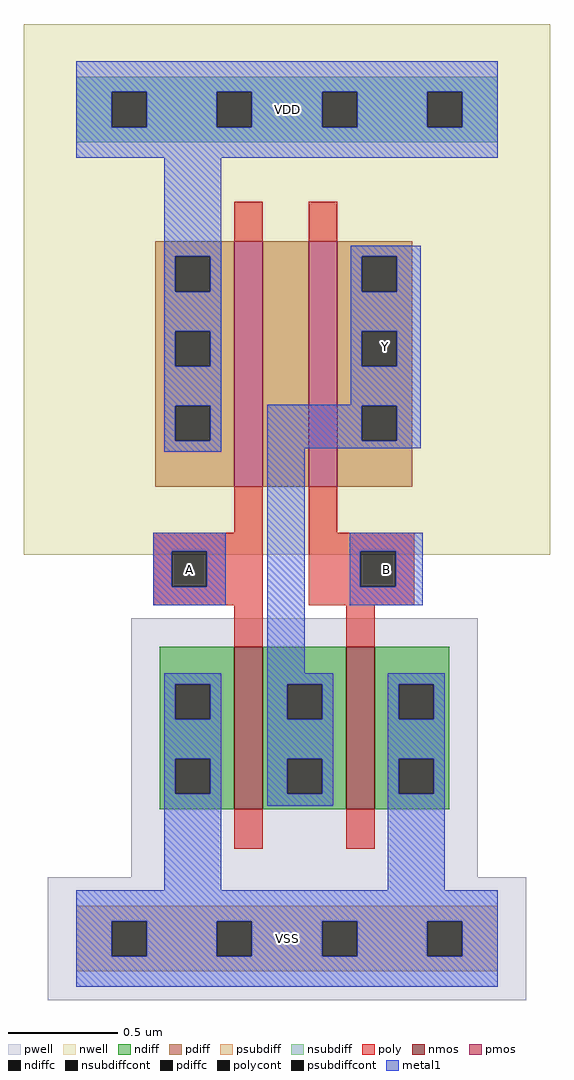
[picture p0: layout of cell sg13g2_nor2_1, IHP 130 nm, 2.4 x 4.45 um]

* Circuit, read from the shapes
.subckt sg13g2_nor2_1 A VDD Y VSS B
XM1 Y A VSS VSS sg13_lv_nmos w=0.74u l=0.13u
XM2 VSS B Y VSS sg13_lv_nmos w=0.74u l=0.13u
XM3 n1 A VDD VDD sg13_lv_pmos w=1.12u l=0.13u
XM4 Y B n1 VDD sg13_lv_pmos w=1.12u l=0.13u
.ends

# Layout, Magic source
magic
tech ihp-sg13g2
magscale 1 2
<< nwell >>
rect -48 350 432 834
<< pwell >>
rect 50 56 366 292
rect -26 -56 410 56
<< nmos >>
rect 144 118 170 266
rect 246 118 272 266
<< pmos >>
rect 144 412 170 636
rect 212 412 238 636
<< ndiff >>
rect 76 232 144 266
rect 76 200 90 232
rect 122 200 144 232
rect 76 164 144 200
rect 76 132 90 164
rect 122 132 144 164
rect 76 118 144 132
rect 170 232 246 266
rect 170 200 192 232
rect 224 200 246 232
rect 170 164 246 200
rect 170 132 192 164
rect 224 132 246 164
rect 170 118 246 132
rect 272 232 340 266
rect 272 200 294 232
rect 326 200 340 232
rect 272 164 340 200
rect 272 132 294 164
rect 326 132 340 164
rect 272 118 340 132
<< pdiff >>
rect 72 622 144 636
rect 72 590 90 622
rect 122 590 144 622
rect 72 554 144 590
rect 72 522 90 554
rect 122 522 144 554
rect 72 486 144 522
rect 72 454 90 486
rect 122 454 144 486
rect 72 412 144 454
rect 170 412 212 636
rect 238 622 306 636
rect 238 590 260 622
rect 292 590 306 622
rect 238 554 306 590
rect 238 522 260 554
rect 292 522 306 554
rect 238 486 306 522
rect 238 454 260 486
rect 292 454 306 486
rect 238 412 306 454
<< ndiffc >>
rect 90 200 122 232
rect 90 132 122 164
rect 192 200 224 232
rect 192 132 224 164
rect 294 200 326 232
rect 294 132 326 164
<< pdiffc >>
rect 90 590 122 622
rect 90 522 122 554
rect 90 454 122 486
rect 260 590 292 622
rect 260 522 292 554
rect 260 454 292 486
<< psubdiff >>
rect 0 16 384 30
rect 0 -16 32 16
rect 64 -16 128 16
rect 160 -16 224 16
rect 256 -16 320 16
rect 352 -16 384 16
rect 0 -30 384 -16
<< nsubdiff >>
rect 0 772 384 786
rect 0 740 32 772
rect 64 740 128 772
rect 160 740 224 772
rect 256 740 320 772
rect 352 740 384 772
rect 0 726 384 740
<< psubdiffcont >>
rect 32 -16 64 16
rect 128 -16 160 16
rect 224 -16 256 16
rect 320 -16 352 16
<< nsubdiffcont >>
rect 32 740 64 772
rect 128 740 160 772
rect 224 740 256 772
rect 320 740 352 772
<< poly >>
rect 144 636 170 672
rect 212 636 238 672
rect 144 370 170 412
rect 70 353 170 370
rect 70 321 87 353
rect 119 321 170 353
rect 70 304 170 321
rect 212 370 238 412
rect 212 353 308 370
rect 212 321 259 353
rect 291 321 308 353
rect 212 304 308 321
rect 144 266 170 304
rect 246 266 272 304
rect 144 82 170 118
rect 246 82 272 118
<< polycont >>
rect 87 321 119 353
rect 259 321 291 353
<< metal1 >>
rect 0 772 384 800
rect 0 740 32 772
rect 64 740 128 772
rect 160 740 224 772
rect 256 740 320 772
rect 352 740 384 772
rect 0 712 384 740
rect 80 622 132 712
rect 80 590 90 622
rect 122 590 132 622
rect 80 554 132 590
rect 80 522 90 554
rect 122 522 132 554
rect 80 486 132 522
rect 250 622 314 632
rect 250 590 260 622
rect 292 590 314 622
rect 250 554 314 590
rect 250 522 260 554
rect 292 522 314 554
rect 250 487 314 522
rect 80 454 90 486
rect 122 454 132 486
rect 80 444 132 454
rect 174 486 314 487
rect 174 454 260 486
rect 292 454 314 486
rect 174 447 314 454
rect 70 353 136 370
rect 70 321 87 353
rect 119 321 136 353
rect 70 304 136 321
rect 174 242 208 447
rect 249 353 316 370
rect 249 321 259 353
rect 291 321 316 353
rect 249 304 316 321
rect 80 232 132 242
rect 80 200 90 232
rect 122 200 132 232
rect 80 164 132 200
rect 80 132 90 164
rect 122 132 132 164
rect 80 44 132 132
rect 174 232 234 242
rect 174 200 192 232
rect 224 200 234 232
rect 174 164 234 200
rect 174 132 192 164
rect 224 132 234 164
rect 174 121 234 132
rect 284 232 336 242
rect 284 200 294 232
rect 326 200 336 232
rect 284 164 336 200
rect 284 132 294 164
rect 326 132 336 164
rect 284 44 336 132
rect 0 16 384 44
rect 0 -16 32 16
rect 64 -16 128 16
rect 160 -16 224 16
rect 256 -16 320 16
rect 352 -16 384 16
rect 0 -44 384 -16
<< labels >>
flabel metal1 s 70 304 136 370 0 FreeSans 400 0 0 0 A
port 2 nsew
flabel metal1 s 0 712 384 800 0 FreeSans 400 0 0 0 VDD
port 3 nsew
flabel metal1 s 250 447 314 632 0 FreeSans 400 0 0 0 Y
port 4 nsew
flabel metal1 s 0 -44 384 44 0 FreeSans 400 0 0 0 VSS
port 5 nsew
flabel metal1 s 249 304 316 370 0 FreeSans 400 0 0 0 B
port 6 nsew
<< properties >>
string FIXED_BBOX 0 0 384 756
string GDS_END 219830
string GDS_FILE 6_final.gds
string GDS_START 216064
<< end >>
